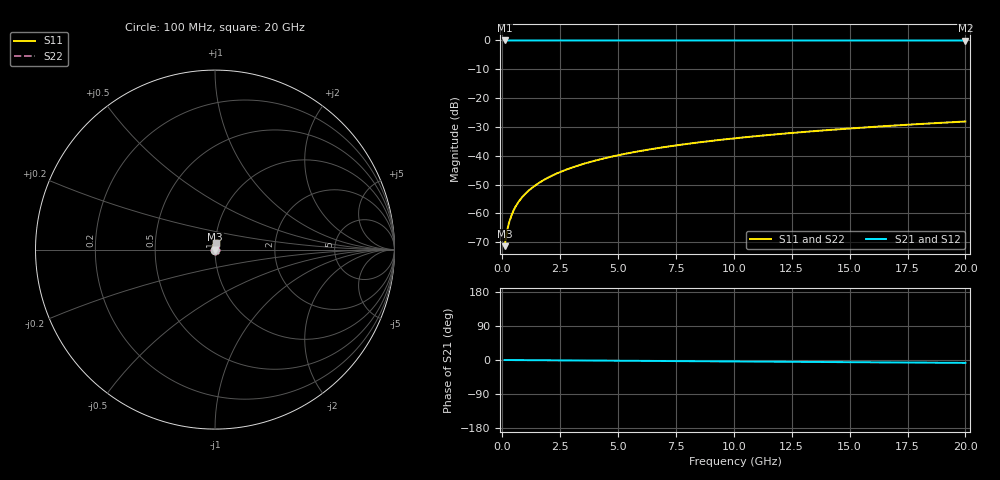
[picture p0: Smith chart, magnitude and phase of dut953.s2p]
! Touchstone file exported from HFSS 2026.1.0
!  File:  C:/ffzhzh/LocalFiles/Ansys_Project_Files/temp_train_TSV_953_1783187343_51560.aedt
!  Generated:  01:50:50 AM Jul  5, 2026
!  Design:  TSV
!  Project:  temp_train_TSV_953_1783187343_51560
! Variables:
!  h_bsmrdl = 2um
!  h_ox = 20um
!  h_rdl = 5um
!  h_sub = 68.5um
!  h_tmrdl = 5um
!  h_tsv = 68.5um
!  h_via = 3um
!  l_bsmrdl = 300um
!  l_sub = 417.56um
!  l_tmrdl = 200um
!  m_sub = 200um
!  pitch = 51.15um
!  r_tsv = 8.78um
!  s_tmrdl = 10um
!  w_bsmrdl = 18um
!  w_sub = 500um
!  w_tmrdl = 12um
!  x_tsv_center1 = 206um
!  x_tsv_center2 = 524um
!  x_tsv_center3 = 736um
!  x_tsv_center4 = 1054um
!  x_tsv_center5 = 1266um
!  x_tsv_center6 = 1584um
# GHz S MA R 50.000000
! Terminal data exported
! Port[1] = TSV1_1_T1
! Port[2] = TSV1_1_T2
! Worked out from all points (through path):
!   200 points, 100 MHz to 20 GHz, reference 50 ohm
!   highest |S21| = 0.00 dB at 100 MHz (marker M1); lowest = 0.0 dB at 20 GHz (marker M2)
!   group delay of S21, straight-line fit = 1.06 ps
!   lowest |S11| = -71.3 dB at 100 MHz (marker M3), VSWR 1.00, Z = 50 + j0.0234 ohm
!   |S11| at or under -10 dB: start of sweep to end of sweep
!   |S22| runs from -71.3 to -28.1 dB; largest |S21 - S12| = 3.2e-15
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0.1  0.0002707 59.8  0.9999 -0.0  0.9999 -0.0  0.0002707 59.8
! Gamma 0 0 0 0
! Port Impedance 50 0 50 0
0.2  0.0004884 72.6  0.9999 -0.1  0.9999 -0.1  0.0004884 72.6
0.3  0.000713 77.0  0.9998 -0.1  0.9998 -0.1  0.000713 77.0
0.4  0.000936 79.0  0.9998 -0.2  0.9998 -0.2  0.000936 79.0
0.5  0.001156 80.0  0.9998 -0.2  0.9998 -0.2  0.001156 80.0
0.6  0.001371 80.7  0.9998 -0.2  0.9998 -0.2  0.001371 80.7
0.7  0.001584 81.2  0.9998 -0.3  0.9998 -0.3  0.001584 81.2
0.8  0.001793 81.6  0.9997 -0.3  0.9997 -0.3  0.001793 81.6
1  0.002205 82.1  0.9997 -0.4  0.9997 -0.4  0.002205 82.1
1.4  0.003016 83.0  0.9997 -0.5  0.9997 -0.5  0.003016 83.0
1.7  0.00362 83.5  0.9996 -0.7  0.9996 -0.7  0.00362 83.5
2  0.004223 83.9  0.9996 -0.8  0.9996 -0.8  0.004223 83.9
2.7  0.005628 84.4  0.9995 -1.0  0.9995 -1.0  0.005628 84.4
3.5  0.007229 84.7  0.9995 -1.4  0.9995 -1.4  0.007229 84.7
4.2  0.008625 84.7  0.9994 -1.6  0.9994 -1.6  0.008625 84.7
5  0.01021 84.7  0.9993 -1.9  0.9993 -1.9  0.01021 84.7
6.8  0.01376 84.4  0.9992 -2.6  0.9992 -2.6  0.01376 84.4
8.3  0.0167 84.1  0.9991 -3.2  0.9991 -3.2  0.0167 84.1
10.1  0.02022 83.7  0.9989 -3.9  0.9989 -3.9  0.02022 83.7
13.4  0.02664 82.8  0.9987 -5.1  0.9987 -5.1  0.02664 82.8
16.7  0.03301 81.7  0.9984 -6.4  0.9984 -6.4  0.03301 81.7
20  0.03935 80.6  0.998 -7.6  0.998 -7.6  0.03935 80.6
